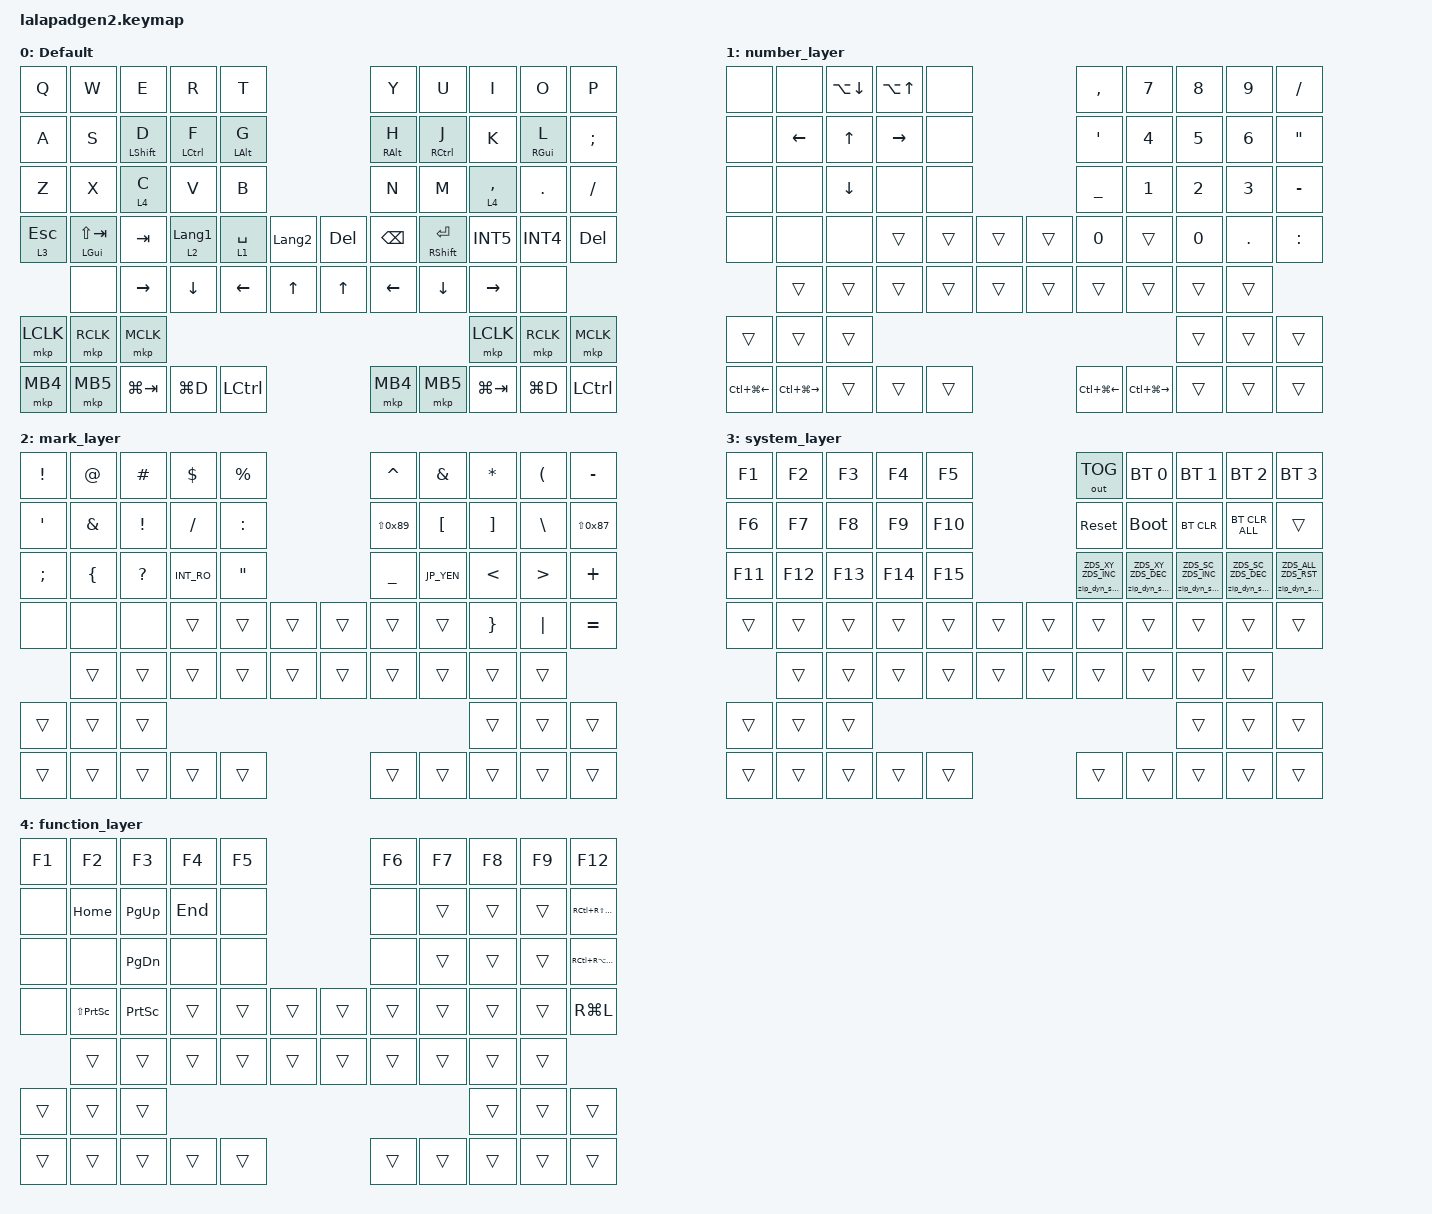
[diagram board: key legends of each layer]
#include <input/processors.dtsi>
#include <dt-bindings/zmk/zip_dynamic_scale.h>
#include <behaviors.dtsi>
#include <dt-bindings/zmk/bt.h>
#include <dt-bindings/zmk/keys.h>
#include <dt-bindings/zmk/outputs.h>
#include <dt-bindings/zmk/pointing.h>

#define DEFAULT_LAYER   0
#define SECONDARY_LAYER 1
#define TERTIARY_LAYER  2
#define SYSTEM_LAYER    3
#define FUNCTION_LAYER  4

// OS設定を日本語キーボードのまま使用するための変換定義
#define JP_DQUOTE       AT                // "
#define JP_AMPERSAND    CARET             // &
#define JP_QUOTE        AMPERSAND         // '
#define JP_EQUAL        UNDER             // =
#define JP_CARET        EQUAL             // ^
#define JP_YEN          0x89              // ¥
#define JP_PLUS         COLON             // +
#define JP_TILDE        PLUS              // ~
#define JP_PIPE         LS(0x89)          // |
#define JP_AT           LEFT_BRACKET      // @
#define JP_COLON        SINGLE_QUOTE      // :
#define JP_ASTERISK     DOUBLE_QUOTES     // *
#define JP_BACKQUOTE    LEFT_BRACE        // `
#define JP_UNDERSCORE   LS(0x87)          // _
#define JP_LBRACKET     RIGHT_BRACKET     // [
#define JP_RBRACKET     BACKSLASH         // ]
#define JP_LPAREN       ASTERISK          // (
#define JP_RPAREN       LEFT_PARENTHESIS  // )
#define JP_LBRACE       RIGHT_BRACE       // {
#define JP_RBRACE       PIPE              // }
#define JP_KANA         LANGUAGE_1        // かな
#define JP_EISU         LANGUAGE_2        // 英数
#define JP_HANZEN       GRAVE             // 半角/全角
#define JP_HENKAN       INT4              // 変換
#define JP_MUHEN        INT5              // 無変換

&mt {
    tapping-term-ms = <200>;
    quick-tap-ms = <150>;
    flavor = "balanced";
};

&lt {
    quick-tap-ms = <150>;
};

/ {
    behaviors {
        zip_dyn_scale: zip_dyn_scale {
            compatible = "zmk,behavior-zip-dynamic-scale";
            #binding-cells = <2>;
        };

        zip_dyn_scale_set: zip_dyn_scale_set {
            compatible = "zmk,behavior-zip-dynamic-scale-set";
            #binding-cells = <2>;
        };

        mt2: mod_tap2 {
            compatible = "zmk,behavior-hold-tap";
            #binding-cells = <2>;
            flavor = "tap-preferred";
            tapping-term-ms = <200>;
            quick-tap-ms = <200>;
            require-prior-idle-ms = <125>;
            bindings = <&kp>, <&kp>;
        };

        tap_dance_layer_1and2: tap_dance_layer_1and2 {
            compatible = "zmk,behavior-tap-dance";
            label = "td_mo12";
            #binding-cells = <0>;
            bindings = <&mo 1>, <&mo 2>;
        };

        hmrr: hmr_right {
            compatible = "zmk,behavior-hold-tap";
            #binding-cells = <2>;
            bindings = <&kp>, <&kp>;
            tapping-term-ms = <200>;
            flavor = "balanced";
            hold-trigger-key-positions = <35 34 33 32 31 30 20 21 22 23 24 14 13 12 11 10 0 1 2 3 4>;
            hold-trigger-on-release;
            require-prior-idle-ms = <150>;
        };

        hmrl: hmr_left {
            compatible = "zmk,behavior-hold-tap";
            #binding-cells = <2>;
            bindings = <&kp>, <&kp>;
            tapping-term-ms = <200>;
            flavor = "balanced";
            hold-trigger-key-positions = <41 40 39 38 37 36 29 28 27 26 25 19 18 17 16 15 5 6 7 8 9>;
            hold-trigger-on-release;
            require-prior-idle-ms = <150>;
        };
    };

    combos {
        compatible = "zmk,combos";
/*
        CONBO_ESC {
            bindings = <&kp ESCAPE>;
            key-positions = <0 1>;
        };

        COMBO_TAB {
            bindings = <&kp TAB>;
            key-positions = <10 11>;
        };
*/        
        combo_JP_EISU {
            timeout-ms = <50>;
            key-positions = <12 13>;
            bindings = <&kp JP_EISU>;
        };
        
        combo_JP_HANZEN {
            timeout-ms = <50>;
            key-positions = <16 17>;
            bindings = <&kp JP_HANZEN>;
        };
    };

    keymap {
        compatible = "zmk,keymap";

        DEFAULT_LAYER {
            display-name = "Default";
            bindings = <
&kp Q       &kp W               &kp E           &kp R           &kp T                                               &kp Y           &kp U               &kp I           &kp O           &kp P
&kp A       &kp S               &hmrl LSHIFT D  &hmrl LCTRL F   &hmrl LALT G                                        &hmrr RALT H    &hmrr RCTRL J       &kp K           &hmrr RGUI L    &kp SEMICOLON
&kp Z       &kp X               &lt 4 C         &kp V           &kp B                                               &kp N           &kp M               &lt 4 COMMA     &kp DOT         &kp SLASH
&lt 3 ESC   &mt LGUI LS(TAB)    &kp TAB         &lt 2 JP_KANA   &lt 1 SPACE     &kp JP_EISU             &kp DEL     &kp BACKSPACE   &mt RSHIFT ENTER    &kp JP_MUHEN    &kp JP_HENKAN   &kp DEL

            &none               &kp RIGHT       &kp DOWN        &kp LEFT        &kp UP                  &kp UP      &kp LEFT        &kp DOWN            &kp RIGHT       &none
&mkp LCLK   &mkp RCLK           &mkp MCLK                                                                                                               &mkp LCLK       &mkp RCLK       &mkp MCLK
&mkp MB4    &mkp MB5            &kp LG(TAB)     &kp LG(D)       &kp LCTRL                                           &mkp MB4        &mkp MB5            &kp LG(TAB)     &kp LG(D)       &kp LCTRL
            >;
        };

        SECONDARY_LAYER {
            display-name = "number_layer";
            bindings = <
&none               &none               &kp LA(DOWN)    &kp LA(UP)  &none                                   &kp COMMA           &kp N7              &kp N8    &kp N9      &kp SLASH
&none               &kp LEFT            &kp UP          &kp RIGHT   &none                                   &kp JP_COLON        &kp N4              &kp N5    &kp N6      &kp JP_ASTERISK
&none               &none               &kp DOWN        &none       &none                                   &kp JP_EQUAL        &kp N1              &kp N2    &kp N3      &kp MINUS
&none               &none               &none           &trans      &trans   &trans             &trans   &kp N0              &trans              &kp N0    &kp DOT     &kp JP_PLUS

                    &trans              &trans          &trans      &trans   &trans             &trans      &trans              &trans              &trans    &trans
&trans              &trans              &trans                                                                                                      &trans    &trans      &trans
&kp LC(LG(LEFT))    &kp LC(LG(RIGHT))   &trans          &trans      &trans                                  &kp LC(LG(LEFT))    &kp LC(LG(RIGHT))   &trans    &trans      &trans
            >;
        };

        TERTIARY_LAYER {
            display-name = "mark_layer";
            bindings = <
&kp EXCLAMATION     &kp JP_DQUOTE       &kp HASH            &kp DOLLAR      &kp PERCENT                                         &kp JP_AMPERSAND    &kp JP_QUOTE    &kp JP_LPAREN       &kp JP_RPAREN       &kp MINUS
&kp JP_COLON        &kp JP_QUOTE        &kp EXCLAMATION     &kp SLASH       &kp JP_PLUS                                         &kp JP_PIPE         &kp JP_AT       &kp JP_LBRACKET     &kp JP_RBRACKET     &kp JP_UNDERSCORE
&kp SEMICOLON       &kp JP_BACKQUOTE    &kp QUESTION        &kp INT_RO      &kp JP_ASTERISK                                     &kp JP_EQUAL        &kp JP_YEN      &kp LESS_THAN       &kp GREATER_THAN    &kp JP_TILDE
&none               &none               &none               &trans          &trans              &trans              &trans      &trans              &trans          &kp JP_LBRACE       &kp JP_RBRACE       &kp JP_CARET

                    &trans              &trans              &trans          &trans              &trans              &trans      &trans              &trans          &trans              &trans
&trans              &trans              &trans                                                                                                      &trans          &trans              &trans
&trans              &trans              &trans              &trans          &trans                                              &trans              &trans          &trans              &trans              &trans
            >;
        };

        SYSTEM_LAYER {
            display-name = "system_layer";
            bindings = <
&kp F1   &kp F2   &kp F3   &kp F4   &kp F5                   &out OUT_TOG                   &bt BT_SEL 0                   &bt BT_SEL 1                   &bt BT_SEL 2                   &bt BT_SEL 3
&kp F6   &kp F7   &kp F8   &kp F9   &kp F10                  &sys_reset                     &bootloader                    &bt BT_CLR                     &bt BT_CLR_ALL                 &trans
&kp F11  &kp F12  &kp F13  &kp F14  &kp F15                  &zip_dyn_scale ZDS_XY ZDS_INC  &zip_dyn_scale ZDS_XY ZDS_DEC  &zip_dyn_scale ZDS_SC ZDS_INC  &zip_dyn_scale ZDS_SC ZDS_DEC  &zip_dyn_scale ZDS_ALL ZDS_RST
&trans   &trans   &trans   &trans   &trans   &trans  &trans  &trans                         &trans                         &trans                         &trans                         &trans

         &trans   &trans   &trans   &trans   &trans  &trans  &trans                         &trans                         &trans                         &trans
&trans   &trans   &trans                                                                                                   &trans                         &trans                         &trans
&trans   &trans   &trans   &trans   &trans                   &trans                         &trans                         &trans                         &trans                         &trans
            >;
        };

        FUNCTION_LAYER {
            display-name = "function_layer";
            bindings = <
&kp F1   &kp F2             &kp F3          &kp F4      &kp F5                              &kp F6      &kp F7      &kp F8      &kp F9      &kp F12
&none    &kp HOME           &kp PG_UP       &kp END     &none                               &none       &trans      &trans      &trans      &kp RC(RS(ESC))
&none    &none              &kp PG_DN       &none       &none                               &none       &trans      &trans      &trans      &kp RC(RA(DEL))
&none    &kp LS(PSCRN)      &kp PSCRN       &trans      &trans   &trans             &trans  &trans      &trans      &trans      &trans      &kp RG(L)

         &trans             &trans          &trans      &trans   &trans             &trans  &trans      &trans      &trans      &trans
&trans   &trans             &trans                                                                                  &trans      &trans      &trans
&trans   &trans             &trans          &trans      &trans                              &trans      &trans      &trans      &trans      &trans
            >;
        };
    };
};
